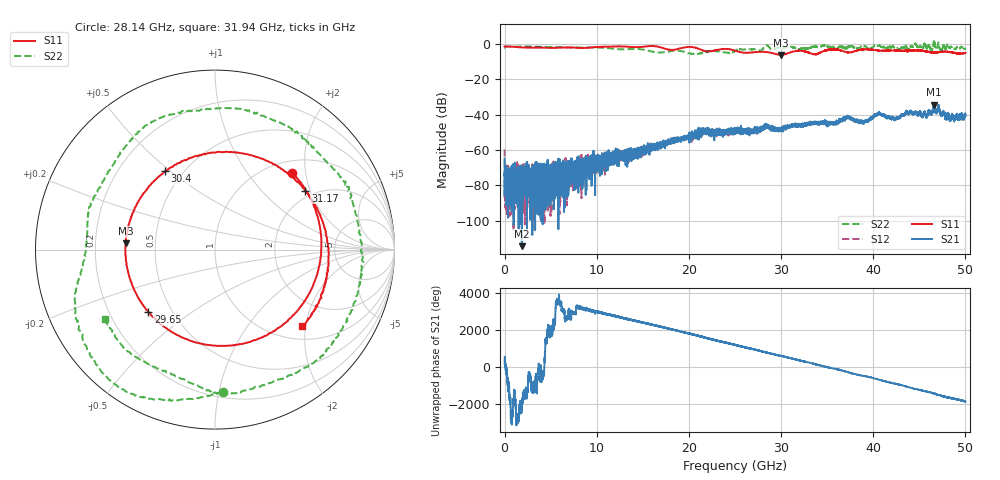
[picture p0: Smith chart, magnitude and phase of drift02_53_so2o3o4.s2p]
!Created with skrf (http://scikit-rf.org).
# Hz S RI R 50.0
!freq ReS11 ImS11 ReS21 ImS21 ReS12 ImS12 ReS22 ImS22
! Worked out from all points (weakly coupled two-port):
!   10001 points, 300 kHz to 50 GHz, reference 50 ohm
!   highest |S21| = -34.34 dB at 46.6 GHz (marker M1); lowest = -114.5 dB at 1.865 GHz (marker M2)
!   lowest |S11| = -6.1 dB at 30 GHz (marker M3), VSWR 2.97, Z = 16.8 + j1.57 ohm
!   |S11| at or under -10 dB: nowhere
!   |S22| runs from -5.7 to 2.1 dB; largest |S21 - S12| = 0.0031
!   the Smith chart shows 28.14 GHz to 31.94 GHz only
!   S11 on the Smith chart (normalised r, x): 28.14 GHz: 1.24, +1.68; 29.65 GHz: 0.37, -0.35; 30.4 GHz: 0.40, +0.48; 31.17 GHz: 1.80, +1.86; 31.94 GHz: 1.30, -1.92
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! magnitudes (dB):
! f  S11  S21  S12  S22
! 300 kHz  -1.3  -64.9  -59.7  -2.1
! 255.3 MHz  -1.4  -76.2  -74.4  -1.4
! 1.865 GHz  -1.9  -114.5  -77.2  -1.3
! 4.865 GHz  -2.1  -72.0  -75.6  -1.6
! 8.335 GHz  -2.2  -67.0  -67.4  -1.9
! 16.67 GHz  -1.4  -56.8  -58.4  -4.7
! 21.7 GHz  -3.9  -49.5  -49.1  -4.6
! 25 GHz  -3.7  -49.1  -48.5  -3.9
! 28.14 GHz  -4.3  -47.4  -47.9  -2.0
! 29.65 GHz  -5.9  -48.8  -48.3  -2.1
! 30 GHz  -6.1  -47.2  -47.9  -2.1
! 30.4 GHz  -5.7  -47.0  -47.4  -1.8
! 31.17 GHz  -4.4  -46.4  -46.5  -1.7
! 31.94 GHz  -3.8  -45.7  -46.1  -2.8
! 33.34 GHz  -5.5  -44.4  -44.8  -1.5
! 37.29 GHz  -4.7  -41.1  -41.4  -1.3
! 38.83 GHz  -3.1  -44.1  -44.2  -1.2
! 40.65 GHz  -3.6  -39.1  -39.5  -0.9
! 41.67 GHz  -3.7  -41.4  -41.2  -1.9
! 46.6 GHz  -4.7  -34.3  -35.1  1.7
! 48.55 GHz  -4.7  -39.4  -40.7  -1.5
! 50 GHz  -4.9  -39.8  -40.3  -2.6
